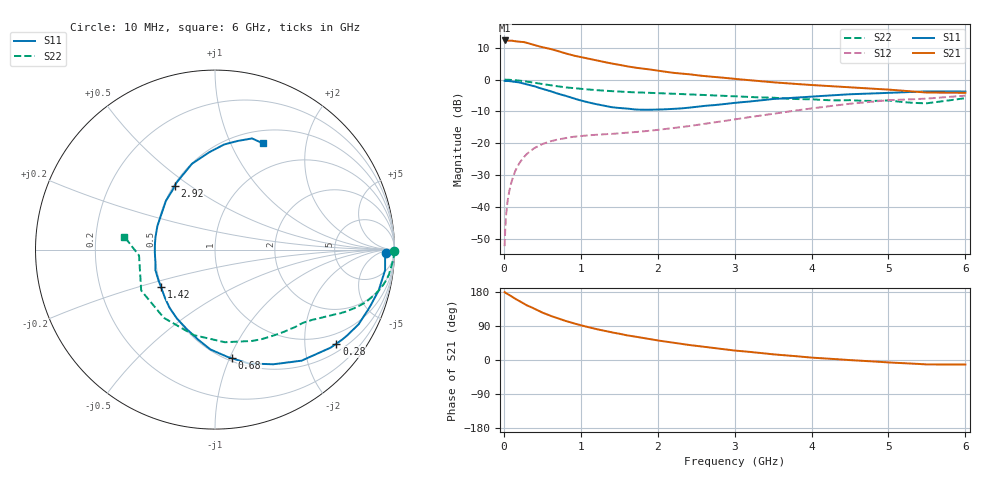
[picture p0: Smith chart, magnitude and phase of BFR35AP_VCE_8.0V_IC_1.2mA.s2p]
! Infineon Technologies  Discrete & RF Semiconductors
! BFR35AP
! VCE =  8.0 V,  IC =  1.2 mA
! Common Emitter S-Parameters:  Nov 2015
# GHz  S  MA  R  50
!  f  S11  S21  S12  S22
! GHz  MAG  ANG  MAG  ANG  MAG  ANG  MAG  ANG
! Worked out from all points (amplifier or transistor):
!   210 points, 10 MHz to 6 GHz, reference 50 ohm
!   highest |S21| = 12.3 dB at 10 MHz (marker M1)
!   |S21| within 3 dB of that: start of sweep to 652.3 MHz
!   unconditionally stable (mu >= 1): 1.394 GHz to 3.454 GHz; 5.445 GHz to 5.632 GHz
!   at 185 MHz: K = 0.16, MSG = 19.5 dB, |S12| = -27.0 dB
!   at 1.52 GHz: K = 1.05, MAG = 9.3 dB, |S12| = -16.9 dB
!   at 6 GHz: K = 0.98, MSG = 0.5 dB, |S12| = -5.1 dB
!   S11 on the Smith chart (normalised r, x): 10 MHz: 35, -17; 280 MHz: 0.71, -2.76; 680 MHz: 0.53, -1.02; 1.42 GHz: 0.50, -0.24; 2.92 GHz: 0.51, +0.44; 6 GHz: 0.65, +1.33
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0.01  0.9551 -1.3  4.125 179.1  0.0024 89.2  0.9999 -0.5
0.02  0.9489 -2.9  4.123 177.4  0.0049 86.2  0.9967 -1.1
0.03  0.9503 -4.2  4.11 176.3  0.0075 85.1  0.9964 -1.7
0.05  0.9545 -6.9  4.089 174.0  0.0126 84.3  0.9961 -2.8
0.08  0.9438 -11.2  4.097 170.5  0.0198 83.0  0.9902 -4.4
0.15  0.9187 -20.7  4.008 161.3  0.0368 77.4  0.9785 -8.3
0.28  0.8556 -37.8  3.835 146.5  0.064 67.6  0.9369 -14.4
0.4  0.7845 -52.1  3.495 135.0  0.0842 60.2  0.8923 -19.0
0.5  0.7164 -63.1  3.237 125.2  0.0968 55.2  0.8531 -22.1
0.6  0.6612 -73.6  3.043 117.1  0.1065 50.7  0.8159 -24.7
0.68  0.6129 -81.1  2.86 111.3  0.1126 48.3  0.7904 -26.4
0.8  0.557 -92.6  2.59 103.3  0.1203 44.8  0.756 -28.6
1.02  0.4627 -111.4  2.235 90.6  0.1302 41.2  0.7121 -31.9
1.2  0.4111 -128.1  2.011 81.6  0.1355 39.9  0.6832 -34.5
1.42  0.3659 -145.4  1.775 72.3  0.1404 40.2  0.6561 -37.4
2.02  0.3389 168.2  1.373 51.0  0.163 44.3  0.6106 -46.3
2.92  0.4192 122.4  1.05 27.0  0.2286 49.2  0.5536 -65.8
3.1  0.441 116.5  1.001 23.2  0.2468 48.9  0.5397 -71.0
4.1  0.5505 91.8  0.808 5.1  0.3646 41.7  0.4816 -108.3
5.1  0.625 76.7  0.681 -7.4  0.4792 26.5  0.4547 -155.5
5.5  0.653 71.6  0.625 -11.7  0.5029 19.0  0.4245 -175.6
6  0.6491 65.8  0.62 -12.0  0.5585 14.0  0.5101 171.9
